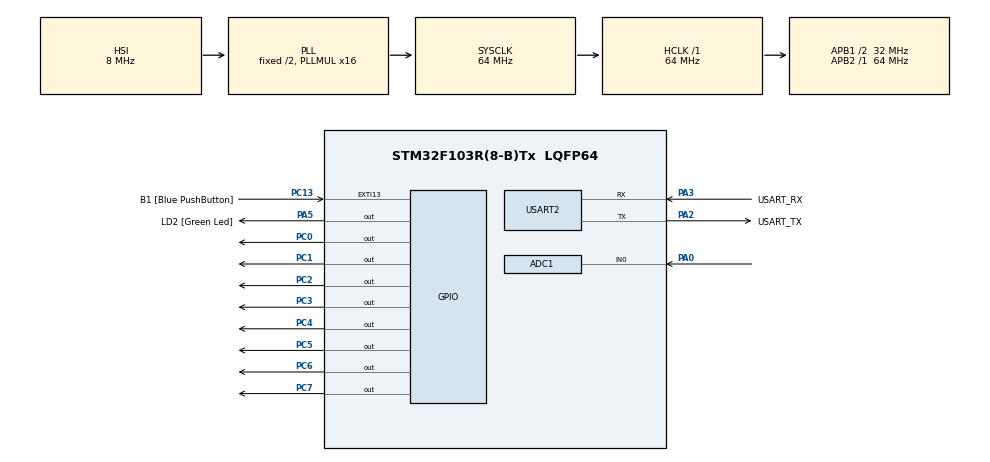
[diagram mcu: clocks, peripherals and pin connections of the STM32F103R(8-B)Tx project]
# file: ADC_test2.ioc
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ADC1.Channel-0\#ChannelRegularConversion=ADC_CHANNEL_0
ADC1.NbrOfConversionFlag=1
ADC1.Rank-0\#ChannelRegularConversion=1
ADC1.SamplingTime-0\#ChannelRegularConversion=ADC_SAMPLETIME_1CYCLE_5
ADC1.master=1
Mcu.Family=STM32F1
Mcu.Name=STM32F103R(8-B)Tx
Mcu.Package=LQFP64
NVIC.ADC1_2_IRQn=true\:0\:0\:false\:false\:true\:true\:true\:true
NVIC.EXTI15_10_IRQn=true\:0\:0\:false\:false\:true\:true\:true\:true
NVIC.PriorityGroup=NVIC_PRIORITYGROUP_4
NVIC.TIM2_IRQn=true\:0\:0\:false\:false\:true\:true\:true\:true
PA0-WKUP.Signal=ADCx_IN0
PA13.GPIO_Label=TMS
PA13.Mode=Serial_Wire
PA13.Signal=SYS_JTMS-SWDIO
PA14.GPIO_Label=TCK
PA14.Mode=Serial_Wire
PA14.Signal=SYS_JTCK-SWCLK
PA2.GPIO_Label=USART_TX
PA2.GPIO_Mode=GPIO_MODE_AF_PP
PA2.GPIO_PuPd=GPIO_NOPULL
PA2.GPIO_Speed=GPIO_SPEED_FREQ_LOW
PA2.Mode=Asynchronous
PA2.Signal=USART2_TX
PA3.GPIO_Label=USART_RX
PA3.GPIO_Mode=GPIO_MODE_AF_PP
PA3.GPIO_PuPd=GPIO_NOPULL
PA3.GPIO_Speed=GPIO_SPEED_FREQ_LOW
PA3.Mode=Asynchronous
PA3.Signal=USART2_RX
PA5.GPIO_Label=LD2 [Green Led]
PA5.GPIO_ModeDefaultOutputPP=GPIO_MODE_OUTPUT_PP
PA5.GPIO_PuPd=GPIO_NOPULL
PA5.GPIO_Speed=GPIO_SPEED_FREQ_LOW
PA5.Signal=GPIO_Output
PB3.GPIO_Label=SWO
PB3.Signal=SYS_JTDO-TRACESWO
PC0.Signal=GPIO_Output
PC1.Signal=GPIO_Output
PC13-TAMPER-RTC.GPIO_Label=B1 [Blue PushButton]
PC13-TAMPER-RTC.GPIO_PuPd=GPIO_NOPULL
PC13-TAMPER-RTC.Signal=GPXTI13
PC14-OSC32_IN.Mode=LSE-External-Oscillator
PC14-OSC32_IN.Signal=RCC_OSC32_IN
PC15-OSC32_OUT.Mode=LSE-External-Oscillator
PC15-OSC32_OUT.Signal=RCC_OSC32_OUT
PC2.Signal=GPIO_Output
PC3.Signal=GPIO_Output
PC4.Signal=GPIO_Output
PC5.Signal=GPIO_Output
PC6.Signal=GPIO_Output
PC7.Signal=GPIO_Output
PD0-OSC_IN.Mode=HSE-External-Clock-Source
PD0-OSC_IN.Signal=RCC_OSC_IN
PD1-OSC_OUT.Mode=HSE-External-Clock-Source
PD1-OSC_OUT.Signal=RCC_OSC_OUT
ProjectManager.HeapSize=0x200
ProjectManager.StackSize=0x400
ProjectManager.TargetToolchain=STM32CubeIDE
RCC.ADCPresc=RCC_ADCPCLK2_DIV8
RCC.AHBFreq_Value=64000000
RCC.APB1CLKDivider=RCC_HCLK_DIV2
RCC.APB1Freq_Value=32000000
RCC.APB1TimFreq_Value=64000000
RCC.APB2Freq_Value=64000000
RCC.APB2TimFreq_Value=64000000
RCC.HCLKFreq_Value=64000000
RCC.PLLMUL=RCC_PLL_MUL16
RCC.RTCClockSelection=RCC_RTCCLKSOURCE_LSE
RCC.SYSCLKFreq_VALUE=64000000
RCC.SYSCLKSource=RCC_SYSCLKSOURCE_PLLCLK
RCC.USBFreq_Value=64000000
SH.ADCx_IN0.0=ADC1_IN0,IN0
TIM2.Channel-Output\ Compare1\ No\ Output=TIM_CHANNEL_1
TIM2.Period=1000-1
TIM2.Prescaler=6400-1
TIM2.Pulse-Output\ Compare1\ No\ Output=1000-1
USART2.VirtualMode=VM_ASYNC
VP_TIM2_VS_ClockSourceINT.Mode=Internal
VP_TIM2_VS_no_output1.Mode=Output Compare1 No Output
board=NUCLEO-F103RB

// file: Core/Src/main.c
/* USER CODE BEGIN Header */
/**
  ******************************************************************************
  * @file           : main.c
  * @brief          : Main program body
  ******************************************************************************
  * @attention
  *
  * Copyright (c) 2022 STMicroelectronics.
  * All rights reserved.
  *
  * This software is licensed under terms that can be found in the LICENSE file
  * in the root directory of this software component.
  * If no LICENSE file comes with this software, it is provided AS-IS.
  *
  ******************************************************************************
  */
/* USER CODE END Header */
#include "main.h"

 ADC_HandleTypeDef hadc1;

TIM_HandleTypeDef htim2;

UART_HandleTypeDef huart2;

void SystemClock_Config(void);
static void MX_GPIO_Init(void);
static void MX_USART2_UART_Init(void);
static void MX_ADC1_Init(void);
static void MX_TIM2_Init(void);
/* USER CODE BEGIN PFP */
#ifdef __GNUC__
/* With GCC, small printf (option LD Linker->Libraries->Small printf
   set to 'Yes') calls __io_putchar() */
#define PUTCHAR_PROTOTYPE int __io_putchar(int ch)
#else
#define PUTCHAR_PROTOTYPE int fputc(int ch, FILE *f)
#endif /* __GNUC__ */

PUTCHAR_PROTOTYPE
{
  /* Place your implementation of fputc here */
  /* e.g. write a character to the USART1 and Loop until the end of transmission */
  HAL_UART_Transmit(&huart2, (uint8_t *)&ch, 1, 0xFFFF);

  return ch;
}
/* USER CODE END PFP */

int main(void)
{

  /* MCU Configuration--------------------------------------------------------*/

  /* Reset of all peripherals, Initializes the Flash interface and the Systick. */
  HAL_Init();

  /* Configure the system clock */
  SystemClock_Config();

  /* Initialize all configured peripherals */
  MX_GPIO_Init();
  MX_USART2_UART_Init();
  MX_ADC1_Init();
  MX_TIM2_Init();
  /* USER CODE BEGIN 2 */
  HAL_TIM_Base_Start_IT(&htim2);
  HAL_TIM_OC_Start_IT(&htim2, TIM_CHANNEL_1);
  uint32_t adc_value = 0;
  /* USER CODE END 2 */

  /* Infinite loop */
  while (1)
  {

    /* USER CODE BEGIN 3 */
	  HAL_ADC_Start(&hadc1);
	  HAL_ADC_PollForConversion(&hadc1, 10);
	  adc_value = HAL_ADC_GetValue(&hadc1);
	  HAL_GPIO_WritePin(GPIOC, GPIO_PIN_All, adc_value);
	  printf("ADC Value = %u\n\r", adc_value);
	  if(adc_value){
	  TIM2->CCR1 = adc_value;}
//	  HAL_Delay(1000);
  }
  /* USER CODE END 3 */
}

void SystemClock_Config(void)
{
  RCC_OscInitTypeDef RCC_OscInitStruct = {0};
  RCC_ClkInitTypeDef RCC_ClkInitStruct = {0};
  RCC_PeriphCLKInitTypeDef PeriphClkInit = {0};

  /** Initializes the RCC Oscillators according to the specified parameters
  * in the RCC_OscInitTypeDef structure.
  */
  RCC_OscInitStruct.OscillatorType = RCC_OSCILLATORTYPE_HSI;
  RCC_OscInitStruct.HSIState = RCC_HSI_ON;
  RCC_OscInitStruct.HSICalibrationValue = RCC_HSICALIBRATION_DEFAULT;
  RCC_OscInitStruct.PLL.PLLState = RCC_PLL_ON;
  RCC_OscInitStruct.PLL.PLLSource = RCC_PLLSOURCE_HSI_DIV2;
  RCC_OscInitStruct.PLL.PLLMUL = RCC_PLL_MUL16;
  if (HAL_RCC_OscConfig(&RCC_OscInitStruct) != HAL_OK)
  {
    Error_Handler();
  }

  /** Initializes the CPU, AHB and APB buses clocks
  */
  RCC_ClkInitStruct.ClockType = RCC_CLOCKTYPE_HCLK|RCC_CLOCKTYPE_SYSCLK
                              |RCC_CLOCKTYPE_PCLK1|RCC_CLOCKTYPE_PCLK2;
  RCC_ClkInitStruct.SYSCLKSource = RCC_SYSCLKSOURCE_PLLCLK;
  RCC_ClkInitStruct.AHBCLKDivider = RCC_SYSCLK_DIV1;
  RCC_ClkInitStruct.APB1CLKDivider = RCC_HCLK_DIV2;
  RCC_ClkInitStruct.APB2CLKDivider = RCC_HCLK_DIV1;

  if (HAL_RCC_ClockConfig(&RCC_ClkInitStruct, FLASH_LATENCY_2) != HAL_OK)
  {
    Error_Handler();
  }
  PeriphClkInit.PeriphClockSelection = RCC_PERIPHCLK_ADC;
  PeriphClkInit.AdcClockSelection = RCC_ADCPCLK2_DIV8;
  if (HAL_RCCEx_PeriphCLKConfig(&PeriphClkInit) != HAL_OK)
  {
    Error_Handler();
  }
}

static void MX_ADC1_Init(void)
{

  ADC_ChannelConfTypeDef sConfig = {0};

  /** Common config
  */
  hadc1.Instance = ADC1;
  hadc1.Init.ScanConvMode = ADC_SCAN_DISABLE;
  hadc1.Init.ContinuousConvMode = DISABLE;
  hadc1.Init.DiscontinuousConvMode = DISABLE;
  hadc1.Init.ExternalTrigConv = ADC_SOFTWARE_START;
  hadc1.Init.DataAlign = ADC_DATAALIGN_RIGHT;
  hadc1.Init.NbrOfConversion = 1;
  if (HAL_ADC_Init(&hadc1) != HAL_OK)
  {
    Error_Handler();
  }

  /** Configure Regular Channel
  */
  sConfig.Channel = ADC_CHANNEL_0;
  sConfig.Rank = ADC_REGULAR_RANK_1;
  sConfig.SamplingTime = ADC_SAMPLETIME_1CYCLE_5;
  if (HAL_ADC_ConfigChannel(&hadc1, &sConfig) != HAL_OK)
  {
    Error_Handler();
  }

}

static void MX_TIM2_Init(void)
{

  TIM_ClockConfigTypeDef sClockSourceConfig = {0};
  TIM_MasterConfigTypeDef sMasterConfig = {0};
  TIM_OC_InitTypeDef sConfigOC = {0};

  htim2.Instance = TIM2;
  htim2.Init.Prescaler = 64-1;
  htim2.Init.CounterMode = TIM_COUNTERMODE_UP;
  htim2.Init.Period = 1000-1;
  htim2.Init.ClockDivision = TIM_CLOCKDIVISION_DIV1;
  htim2.Init.AutoReloadPreload = TIM_AUTORELOAD_PRELOAD_DISABLE;
  if (HAL_TIM_Base_Init(&htim2) != HAL_OK)
  {
    Error_Handler();
  }
  sClockSourceConfig.ClockSource = TIM_CLOCKSOURCE_INTERNAL;
  if (HAL_TIM_ConfigClockSource(&htim2, &sClockSourceConfig) != HAL_OK)
  {
    Error_Handler();
  }
  if (HAL_TIM_OC_Init(&htim2) != HAL_OK)
  {
    Error_Handler();
  }
  sMasterConfig.MasterOutputTrigger = TIM_TRGO_RESET;
  sMasterConfig.MasterSlaveMode = TIM_MASTERSLAVEMODE_DISABLE;
  if (HAL_TIMEx_MasterConfigSynchronization(&htim2, &sMasterConfig) != HAL_OK)
  {
    Error_Handler();
  }
  sConfigOC.OCMode = TIM_OCMODE_TIMING;
  sConfigOC.Pulse = 1000-1;
  sConfigOC.OCPolarity = TIM_OCPOLARITY_HIGH;
  sConfigOC.OCFastMode = TIM_OCFAST_DISABLE;
  if (HAL_TIM_OC_ConfigChannel(&htim2, &sConfigOC, TIM_CHANNEL_1) != HAL_OK)
  {
    Error_Handler();
  }

}

static void MX_USART2_UART_Init(void)
{

  huart2.Instance = USART2;
  huart2.Init.BaudRate = 9600;
  huart2.Init.WordLength = UART_WORDLENGTH_8B;
  huart2.Init.StopBits = UART_STOPBITS_1;
  huart2.Init.Parity = UART_PARITY_NONE;
  huart2.Init.Mode = UART_MODE_TX_RX;
  huart2.Init.HwFlowCtl = UART_HWCONTROL_NONE;
  huart2.Init.OverSampling = UART_OVERSAMPLING_16;
  if (HAL_UART_Init(&huart2) != HAL_OK)
  {
    Error_Handler();
  }

}

static void MX_GPIO_Init(void)
{
  GPIO_InitTypeDef GPIO_InitStruct = {0};

  /* GPIO Ports Clock Enable */
  __HAL_RCC_GPIOC_CLK_ENABLE();
  __HAL_RCC_GPIOD_CLK_ENABLE();
  __HAL_RCC_GPIOA_CLK_ENABLE();
  __HAL_RCC_GPIOB_CLK_ENABLE();

  /*Configure GPIO pin Output Level */
  HAL_GPIO_WritePin(GPIOC, GPIO_PIN_0|GPIO_PIN_1|GPIO_PIN_2|GPIO_PIN_3
                          |GPIO_PIN_4|GPIO_PIN_5|GPIO_PIN_6|GPIO_PIN_7, GPIO_PIN_RESET);

  /*Configure GPIO pin Output Level */
  HAL_GPIO_WritePin(LD2_GPIO_Port, LD2_Pin, GPIO_PIN_RESET);

  /*Configure GPIO pin : B1_Pin */
  GPIO_InitStruct.Pin = B1_Pin;
  GPIO_InitStruct.Mode = GPIO_MODE_IT_RISING;
  GPIO_InitStruct.Pull = GPIO_NOPULL;
  HAL_GPIO_Init(B1_GPIO_Port, &GPIO_InitStruct);

  /*Configure GPIO pins : PC0 PC1 PC2 PC3
                           PC4 PC5 PC6 PC7 */
  GPIO_InitStruct.Pin = GPIO_PIN_0|GPIO_PIN_1|GPIO_PIN_2|GPIO_PIN_3
                          |GPIO_PIN_4|GPIO_PIN_5|GPIO_PIN_6|GPIO_PIN_7;
  GPIO_InitStruct.Mode = GPIO_MODE_OUTPUT_PP;
  GPIO_InitStruct.Pull = GPIO_NOPULL;
  GPIO_InitStruct.Speed = GPIO_SPEED_FREQ_LOW;
  HAL_GPIO_Init(GPIOC, &GPIO_InitStruct);

  /*Configure GPIO pin : LD2_Pin */
  GPIO_InitStruct.Pin = LD2_Pin;
  GPIO_InitStruct.Mode = GPIO_MODE_OUTPUT_PP;
  GPIO_InitStruct.Pull = GPIO_NOPULL;
  GPIO_InitStruct.Speed = GPIO_SPEED_FREQ_LOW;
  HAL_GPIO_Init(LD2_GPIO_Port, &GPIO_InitStruct);

  /* EXTI interrupt init*/
  HAL_NVIC_SetPriority(EXTI15_10_IRQn, 0, 0);
  HAL_NVIC_EnableIRQ(EXTI15_10_IRQn);

}

/* USER CODE BEGIN 4 */

void HAL_TIM_PeriodElapsedCallback(TIM_HandleTypeDef *htim) {
	GPIOC->BSRR = 0XFF;
}

void HAL_TIM_OC_DelayElapsedCallback(TIM_HandleTypeDef *htim) {
	if(htim->Channel == HAL_TIM_ACTIVE_CHANNEL_1){
		GPIOC->BRR = 0XFF;
	}
}
/* USER CODE END 4 */

void Error_Handler(void)
{
  __disable_irq();
  while (1)
  {
  }
}
